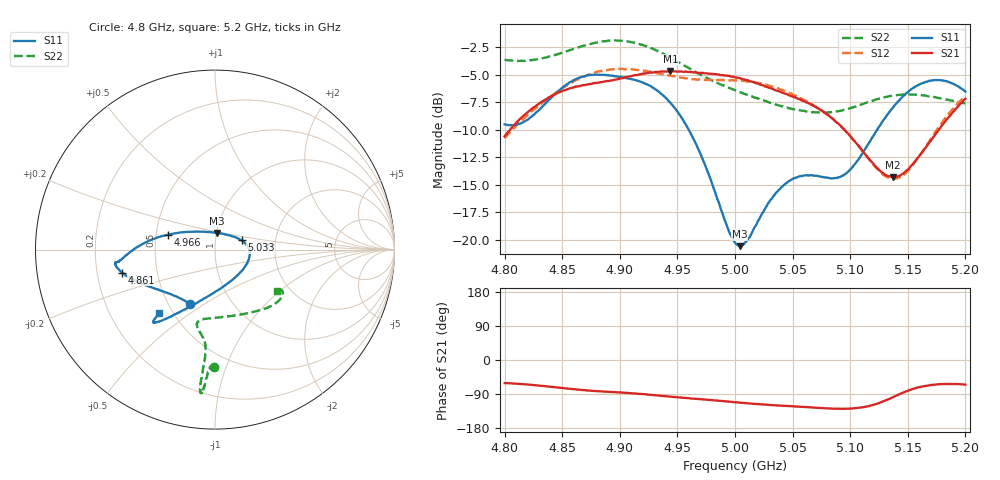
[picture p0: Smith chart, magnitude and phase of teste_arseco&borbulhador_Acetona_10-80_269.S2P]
! Network Analyzer HP8722D
! Hewlett-Packard
! Data name: Linha & Wilkinson
! Saver's name: Rodrigo Anjos
! Comments: Teste da utilização de aquisição
! continua pelo VNA HP8722D
! Time and date: 17/4/2025 16:36
!  Frequency  S11  S21  S12  S22
# HZ  S  MA R 50
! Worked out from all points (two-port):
!   401 points, 4.8 GHz to 5.2 GHz, reference 50 ohm
!   highest |S21| = -4.68 dB at 4.944 GHz (marker M1); lowest = -14.4 dB at 5.137 GHz (marker M2)
!   |S21| within 3 dB of the highest: 4.83 GHz to 5.065 GHz (235.8 MHz wide, 4.77 % of centre); 5.195442 GHz to end of sweep
!   lowest |S11| = -20.6 dB at 5.004 GHz (marker M3), VSWR 1.21, Z = 50.2 + j9.38 ohm
!   |S11| at or under -10 dB: 4.96 GHz to 5.123 GHz (163.8 MHz wide, 3.25 % of centre)
!   |S22| runs from -8.5 to -1.9 dB; largest |S21 - S12| = 0.87
!   S11 on the Smith chart (normalised r, x): 4.8 GHz: 0.64, -0.44; 4.861 GHz: 0.31, -0.11; 4.966 GHz: 0.58, +0.11; 5.033 GHz: 1.34, +0.14; 5.2 GHz: 0.42, -0.39
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4.8e9  0.3339 -114.1  0.2948 -61.1  0.2883 -175.3  0.6564 -90.3
4.819e9  0.3485 -134.1  0.375 -64.5  0.364 -174.1  0.6518 -91.8
4.861e9  0.5338 -166.1  0.4935 -77.3  0.5273 -177.2  0.738 -94.2
4.867e9  0.5483 -168.4  0.5022 -79.1  0.5474 -178.4  0.7565 -94.3
4.9e9  0.5485 -172.8  0.5379 -85.6  0.5963 175.1  0.8031 -95.7
4.934e9  0.4697 -178.7  0.5782 -93.9  0.5695 171.5  0.7138 -96.1
4.944e9  0.4181 176.8  0.5836 -96.7  0.5554 171.6  0.6713 -95.7
4.966e9  0.2728 162.1  0.5744 -102.4  0.5338 173.4  0.5768 -95.2
5e9  0.09671 97.8  0.5458 -111.5  0.5298 175.8  0.4774 -99.2
5.004e9  0.09326 83.7  0.5421 -112.6  0.5282 175.8  0.469 -100.2
5.012e9  0.1017 56.9  0.526 -114.5  0.5221 175.6  0.4522 -102.0
5.033e9  0.1564 19.2  0.4837 -119.1  0.4944 174.2  0.4142 -103.5
5.049e9  0.1869 2.9  0.4479 -121.9  0.4595 173.8  0.3927 -99.7
5.067e9  0.1959 -16.2  0.4093 -125.2  0.4115 173.5  0.3792 -90.1
5.085e9  0.1897 -44.7  0.3537 -128.5  0.3529 173.4  0.3807 -76.6
5.097e9  0.2005 -68.9  0.3072 -128.5  0.3076 174.7  0.3909 -66.9
5.123e9  0.3135 -108.7  0.212 -115.7  0.2108 -170.2  0.4342 -48.6
5.134e9  0.3795 -117.6  0.1935 -102.6  0.1898 -155.5  0.4481 -43.1
5.137e9  0.3967 -119.3  0.1916 -98.5  0.1891 -150.6  0.4512 -41.7
5.15e9  0.4681 -125.1  0.2078 -81.4  0.2051 -130.9  0.4565 -36.9
5.17e9  0.5277 -129.6  0.2817 -66.0  0.287 -112.4  0.4469 -32.1
5.2e9  0.4707 -131.1  0.4362 -64.9  0.4485 -106.9  0.4154 -33.7
